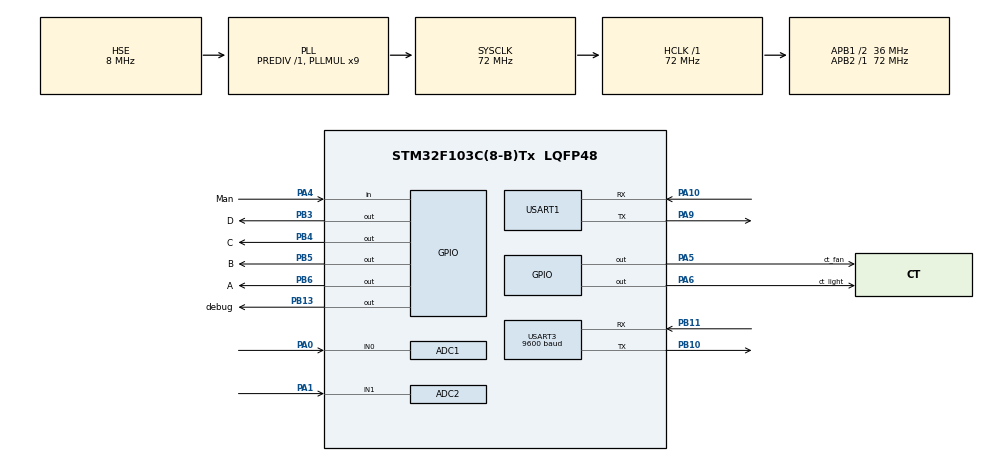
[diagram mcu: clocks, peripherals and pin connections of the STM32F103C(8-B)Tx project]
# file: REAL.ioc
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ADC1.Channel-0\#ChannelRegularConversion=ADC_CHANNEL_0
ADC1.NbrOfConversionFlag=1
ADC1.Rank-0\#ChannelRegularConversion=1
ADC1.SamplingTime-0\#ChannelRegularConversion=ADC_SAMPLETIME_1CYCLE_5
ADC1.master=1
ADC2.Channel-4\#ChannelRegularConversion=ADC_CHANNEL_1
ADC2.NbrOfConversionFlag=1
ADC2.Rank-4\#ChannelRegularConversion=1
ADC2.SamplingTime-4\#ChannelRegularConversion=ADC_SAMPLETIME_1CYCLE_5
Mcu.Family=STM32F1
Mcu.Name=STM32F103C(8-B)Tx
Mcu.Package=LQFP48
NVIC.PriorityGroup=NVIC_PRIORITYGROUP_4
NVIC.USART1_IRQn=true\:1\:0\:true\:false\:true\:true\:true
NVIC.USART3_IRQn=true\:1\:0\:true\:false\:true\:true\:true
PA0-WKUP.Signal=ADCx_IN0
PA1.Signal=ADCx_IN1
PA10.Mode=Asynchronous
PA10.Signal=USART1_RX
PA4.GPIO_Label=Man
PA4.Signal=GPIO_Input
PA5.GPIO_Label=ct_fan
PA5.PinState=GPIO_PIN_SET
PA5.Signal=GPIO_Output
PA6.GPIO_Label=ct_light
PA6.Signal=GPIO_Output
PA9.Mode=Asynchronous
PA9.Signal=USART1_TX
PB10.Mode=Asynchronous
PB10.Signal=USART3_TX
PB11.Mode=Asynchronous
PB11.Signal=USART3_RX
PB13.GPIO_Label=debug
PB13.Signal=GPIO_Output
PB3.GPIO_Label=D
PB3.Signal=GPIO_Output
PB4.GPIO_Label=C
PB4.Signal=GPIO_Output
PB5.GPIO_Label=B
PB5.Signal=GPIO_Output
PB6.GPIO_Label=A
PB6.Signal=GPIO_Output
PC14-OSC32_IN.Mode=LSE-External-Oscillator
PC14-OSC32_IN.Signal=RCC_OSC32_IN
PC15-OSC32_OUT.Mode=LSE-External-Oscillator
PC15-OSC32_OUT.Signal=RCC_OSC32_OUT
PD0-OSC_IN.Mode=HSE-External-Oscillator
PD0-OSC_IN.Signal=RCC_OSC_IN
PD1-OSC_OUT.Mode=HSE-External-Oscillator
PD1-OSC_OUT.Signal=RCC_OSC_OUT
ProjectManager.HeapSize=0x200
ProjectManager.StackSize=0x400
ProjectManager.TargetToolchain=MDK-ARM V5
RCC.ADCPresc=RCC_ADCPCLK2_DIV6
RCC.AHBFreq_Value=72000000
RCC.APB1CLKDivider=RCC_HCLK_DIV2
RCC.APB1Freq_Value=36000000
RCC.APB1TimFreq_Value=72000000
RCC.APB2Freq_Value=72000000
RCC.APB2TimFreq_Value=72000000
RCC.HCLKFreq_Value=72000000
RCC.PLLMUL=RCC_PLL_MUL9
RCC.PLLSourceVirtual=RCC_PLLSOURCE_HSE
RCC.SYSCLKFreq_VALUE=72000000
RCC.SYSCLKSource=RCC_SYSCLKSOURCE_PLLCLK
RCC.USBFreq_Value=72000000
SH.ADCx_IN0.0=ADC1_IN0,IN0
SH.ADCx_IN1.0=ADC2_IN1,IN1
TIM1.Period=0xffff
TIM1.Prescaler=72-1
USART1.VirtualMode=VM_ASYNC
USART3.BaudRate=9600
USART3.VirtualMode=VM_ASYNC
VP_SYS_VS_ND.Mode=No_Debug
VP_TIM1_VS_ClockSourceINT.Mode=Internal
board=custom

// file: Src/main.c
/* USER CODE BEGIN Header */
/**
  ******************************************************************************
  * @file           : main.c
  * @brief          : Main program body
  ******************************************************************************
  * @attention
  *
  * <h2><center>&copy; Copyright (c) 2020 STMicroelectronics.
  * All rights reserved.</center></h2>
  *
  * This software component is licensed by ST under BSD 3-Clause license,
  * the "License"; You may not use this file except in compliance with the
  * License. You may obtain a copy of the License at:
  *                        opensource.org/licenses/BSD-3-Clause
  *
  ******************************************************************************
  */
/* USER CODE END Header */

#include "main.h"
#include "adc.h"
#include "tim.h"
#include "usart.h"
#include "gpio.h"

/* USER CODE BEGIN Includes */
#include "string.h"
/* USER CODE END Includes */

/* USER CODE BEGIN PTD */

//然而在半驱动时，电机需要4096步。但是现在序列有8个步距角，所以我们需要给出4096/8=512个序列（转一圈）
#define stepsperrev 4096

/* USER CODE END PTD */

/* USER CODE BEGIN PM */

//-----------------------------直接工具类----------------------------------
void MotorRight(uint16_t num);				//电机转向：num->圈数
void MotorLeft(uint16_t num);
void CheckState(void);

//-----------------------------间接工具类----------------------------------
void delay(uint16_t us);
void steper_ser_rpm(int rpm);
void steper_half_drive(int step);

void clean(void);

/* USER CODE END PM */

/* USER CODE BEGIN PV */

//----------------------------------外设控制变量----------------------------------
//						ct_fan：风扇控制
//						ct_light：灯光控制
//						ct_curtain：窗帘控制
//						值：0-->启动 1-->关闭
//----------------------------------外设控制变量----------------------------------
uint16_t ct_fan = 1;
uint16_t ct_light = 0;
uint16_t ct_curtain = 0;
//----------------------------------串口比较指令定义----------------------------------
uint16_t DriverMode_Fan = 0;											//风扇运行模式：0->自动  1->手动
uint16_t DriverMode_Light = 0;										//灯光运行模式：0->自动  1->手动
const char ct_str_openFan[15] = "Fan_On#";
const char ct_str_closeFan[15] = "Fan_Off#";
const char ct_str_openLight[15] = "Light_On#";
const char ct_str_closeLight[15] = "Light_Off#";
const char ct_str_openCurtain[15] = "Door_On#";
const char ct_str_closeCurtain[15] = "Door_Off#";
const char ct_str_Auto_Fan[15] = "fan_auto#";
const char ct_str_NotAuto_Fan[15] = "fan_auto_no#";
const char ct_str_Auto_Light[15] = "light_auto#";
const char ct_str_NotAuto_Light[15] = "light_auto_no#";
const char getState[15] = "getState#";
//----------------------------------串口比较指令定义----------------------------------

//--------------------------------串口变量定义--------------------------------

//串口1
uint8_t uart1RxState = 1;
uint8_t uart1RxCounter = 0;
uint8_t TempBuff[1];
char uart1RxBuff[128];
char uart1Real[128];
char SendBack[128];
uint8_t hello[] = "hello Uart\r\n";

//串口2
uint8_t uart2RxState = 1;
uint8_t uart2RxCounter = 0;
uint8_t TempBuff2[1];
char uart2RxBuff[128];
char SendBack2[128];
//--------------------------------串口变量定义--------------------------------

/* USER CODE END PV */

void SystemClock_Config(void);

int main(void)
{

  /* MCU Configuration--------------------------------------------------------*/

  /* Reset of all peripherals, Initializes the Flash interface and the Systick. */
  HAL_Init();

  /* Configure the system clock */
  SystemClock_Config();

  /* Initialize all configured peripherals */
  MX_GPIO_Init();
  MX_ADC1_Init();
  MX_ADC2_Init();
  MX_USART1_UART_Init();
  MX_TIM1_Init();
  MX_USART3_UART_Init();
  /* USER CODE BEGIN 2 */

	//启动定时器（用于驱动电机）
	HAL_TIM_Base_Start(&htim1);

	//开启定时器中断接收指令
	HAL_UART_Receive_IT(&huart1, TempBuff, 1);
	HAL_UART_Receive_IT(&huart3, TempBuff2, 1);
	HAL_UART_Transmit(&huart3,(uint8_t *)"Hello", sizeof("Hello"), 0xFFFF);
  /* USER CODE END 2 */

  /* Infinite loop */
  /* USER CODE BEGIN WHILE */
  while (1)
  {
		HAL_GPIO_TogglePin(debug_GPIO_Port,debug_Pin);
    /* USER CODE END WHILE */

    /* USER CODE BEGIN 3 */

		//接收串口指令

		//窗帘控制
		if(ct_curtain == 1)
		{
			//直接操作
			MotorLeft(3);
			ct_curtain = 0;
		}
		else if(ct_curtain == 2)
		{
			//直接操作
			MotorRight(3);
			ct_curtain = 0;
		}

		if(DriverMode_Light == 0)
		{
			//----------------自动模式使用传感器的值来判断-------------------
			uint16_t adc_value_light = 0;				//ADC转换值
			float voltage_light = 0.0;					//电压值

			HAL_ADC_Start(&hadc1);
			//等待常规转化组转化完成（句柄，超时时间）
			HAL_ADC_PollForConversion(&hadc1,100);
			adc_value_light = HAL_ADC_GetValue(&hadc1);
			voltage_light = (float)adc_value_light / 4096 * 3.3 * 10;
			if(voltage_light > 7)
			{
				HAL_GPIO_WritePin(ct_light_GPIO_Port,ct_light_Pin,GPIO_PIN_SET);
			}else
			{
				HAL_GPIO_WritePin(ct_light_GPIO_Port,ct_light_Pin,GPIO_PIN_RESET);
			}
			HAL_Delay(1000);
		}
		else
		{
			if(ct_light == 1)
			{
				HAL_GPIO_WritePin(ct_light_GPIO_Port,ct_light_Pin,GPIO_PIN_SET);
			}else
			{
				HAL_GPIO_WritePin(ct_light_GPIO_Port,ct_light_Pin,GPIO_PIN_RESET);
			}
		}

		if(DriverMode_Fan == 0)
		{
			uint16_t adc_value_air = 0;				//ADC转换值
			float voltage_air = 0.0;					//电压值

			HAL_ADC_Start(&hadc2);
			//等待常规转化组转化完成（句柄，超时时间）
			HAL_ADC_PollForConversion(&hadc2,100);
			adc_value_air = HAL_ADC_GetValue(&hadc2);
			voltage_air = (float)adc_value_air / 4096 * 3.3 * 10;
			if(voltage_air > 12)
			{
				HAL_GPIO_WritePin(ct_fan_GPIO_Port,ct_fan_Pin,GPIO_PIN_RESET);
			}else
			{
				HAL_GPIO_WritePin(ct_fan_GPIO_Port,ct_fan_Pin,GPIO_PIN_SET);
			}

			HAL_Delay(1000);
		}else
		{
			if(ct_fan == 1)
			{
				HAL_GPIO_WritePin(ct_fan_GPIO_Port,ct_fan_Pin,GPIO_PIN_RESET);
			}else
			{
				HAL_GPIO_WritePin(ct_fan_GPIO_Port,ct_fan_Pin,GPIO_PIN_SET);
			}
		}
  }
  /* USER CODE END 3 */
}

void SystemClock_Config(void)
{
  RCC_OscInitTypeDef RCC_OscInitStruct = {0};
  RCC_ClkInitTypeDef RCC_ClkInitStruct = {0};
  RCC_PeriphCLKInitTypeDef PeriphClkInit = {0};

  /** Initializes the CPU, AHB and APB busses clocks
  */
  RCC_OscInitStruct.OscillatorType = RCC_OSCILLATORTYPE_HSE;
  RCC_OscInitStruct.HSEState = RCC_HSE_ON;
  RCC_OscInitStruct.HSEPredivValue = RCC_HSE_PREDIV_DIV1;
  RCC_OscInitStruct.HSIState = RCC_HSI_ON;
  RCC_OscInitStruct.PLL.PLLState = RCC_PLL_ON;
  RCC_OscInitStruct.PLL.PLLSource = RCC_PLLSOURCE_HSE;
  RCC_OscInitStruct.PLL.PLLMUL = RCC_PLL_MUL9;
  if (HAL_RCC_OscConfig(&RCC_OscInitStruct) != HAL_OK)
  {
    Error_Handler();
  }
  /** Initializes the CPU, AHB and APB busses clocks
  */
  RCC_ClkInitStruct.ClockType = RCC_CLOCKTYPE_HCLK|RCC_CLOCKTYPE_SYSCLK
                              |RCC_CLOCKTYPE_PCLK1|RCC_CLOCKTYPE_PCLK2;
  RCC_ClkInitStruct.SYSCLKSource = RCC_SYSCLKSOURCE_PLLCLK;
  RCC_ClkInitStruct.AHBCLKDivider = RCC_SYSCLK_DIV1;
  RCC_ClkInitStruct.APB1CLKDivider = RCC_HCLK_DIV2;
  RCC_ClkInitStruct.APB2CLKDivider = RCC_HCLK_DIV1;

  if (HAL_RCC_ClockConfig(&RCC_ClkInitStruct, FLASH_LATENCY_2) != HAL_OK)
  {
    Error_Handler();
  }
  PeriphClkInit.PeriphClockSelection = RCC_PERIPHCLK_ADC;
  PeriphClkInit.AdcClockSelection = RCC_ADCPCLK2_DIV6;
  if (HAL_RCCEx_PeriphCLKConfig(&PeriphClkInit) != HAL_OK)
  {
    Error_Handler();
  }
}

/* USER CODE BEGIN 4 */

//返回给云端当前状态
void CheckState()
{
	char state[128];
	sprintf(state,"{\"fan\":%d,\"light\":%d,\"curtain\":%d,\"Mode_Fan\":%d,\"Mode_Light\":%d}",
	ct_fan,ct_light,ct_curtain,DriverMode_Fan,DriverMode_Light);
	HAL_UART_Transmit(&huart1,(uint8_t *)&state, sizeof("{\"fan\":%d,\"light\":%d,\"curtain\":%d,\"Mode_Fan\":%d,\"Mode_Light\":%d}}")-5, 0xFFFF);
}

//串口中断回调函数
void HAL_UART_RxCpltCallback(UART_HandleTypeDef *huart)
//void HAL_UART_RxHalfCpltCallback(UART_HandleTypeDef *huart)
{
//	HAL_GPIO_TogglePin(LED1_GPIO_Port,LED1_Pin);
	if(huart->Instance == USART1)
	{
		//避免gcc/g++警告
		UNUSED(huart);
		//溢出错误
		if(uart1RxCounter >= 128)
		{
			uart1RxCounter = 0;
			memset(uart1RxBuff,0x00,sizeof(uart1RxBuff));
			HAL_UART_Transmit(&huart1,(uint8_t *)"溢出错误",8,0xff);
			HAL_UART_Receive_IT(&huart1, TempBuff, 1);
		}
		else
		{
			uart1RxBuff[uart1RxCounter++] = TempBuff[0];
			//HAL_UART_Transmit(&huart1,TempBuff[0],1,0xff);
			if(uart1RxBuff[uart1RxCounter-1] == '#')
			{
				//HAL_UART_Transmit(&huart1,(uint8_t *)uart1RxBuff,sizeof(uart1RxBuff),0xff);
				uart1RxCounter = 0;
				uart1RxState = 1;
				///////////////////////////////////////////////////
				if(strstr((char *)uart1RxBuff,ct_str_Auto_Light) != NULL)
				{
					DriverMode_Light = 0;
				}else if(strstr((char *)uart1RxBuff,ct_str_NotAuto_Light) != NULL)
				{
					DriverMode_Light = 1;
				}else if(strstr((char *)uart1RxBuff,ct_str_Auto_Fan) != NULL)
				{
					DriverMode_Fan = 0;
				}else if(strstr((char *)uart1RxBuff,ct_str_NotAuto_Fan) != NULL)
				{
					DriverMode_Fan = 1;
				}else if(strstr((char *)uart1RxBuff,ct_str_openFan) != NULL)
				{
					ct_fan = 0;
				}else if(strstr((char *)uart1RxBuff,ct_str_closeFan) != NULL)
				{
					ct_fan = 1;
				}else if(strstr((char *)uart1RxBuff,ct_str_openLight) != NULL)
				{
					ct_light = 1;
				}else if(strstr((char *)uart1RxBuff,ct_str_closeLight) != NULL)
				{
					ct_light = 0;
				}else if(strstr((char *)uart1RxBuff,ct_str_openCurtain) != NULL)
				{
					ct_curtain = 1;
				}else if(strstr((char *)uart1RxBuff,ct_str_closeCurtain) != NULL)
				{
					ct_curtain = 2;
				}else if(strstr((char *)uart1RxBuff,"connected#") != NULL)
				{
					HAL_UART_Transmit(&huart1,(uint8_t *)"connected", sizeof("connected"), 0xFFFF);
				}
				//HAL_Delay(100);
				CheckState();
				//sprintf(SendBack,"指令：%s \r\n",(char *)uart1RxBuff);
				//HAL_UART_Transmit(&huart1,(uint8_t *)SendBack,sizeof(SendBack),0xff);
				//while(HAL_UART_GetState(&huart1) == HAL_UART_STATE_BUSY_TX);

				//memset(SendBack,0x00,sizeof(SendBack));
				//strcpy(uart1Real,uart1RxBuff);
				memset(uart1RxBuff,0x00,sizeof(uart1RxBuff)+1);
			}
		}
		memset(TempBuff,0x00,sizeof(TempBuff));
		HAL_UART_Receive_IT(&huart1, TempBuff, 1);
	}

	if(huart->Instance == USART3)
	{
		//HAL_UART_Transmit(&huart2,(uint8_t *)"2b\r\n",sizeof("2b\r\n"),0xff);
		//---------------------------------------语音处理------------------------
		//避免gcc/g++警告
		UNUSED(huart);
		//溢出错误
		if(uart2RxCounter >= 128)
		{
			uart2RxCounter = 0;
			memset(uart2RxBuff,0x00,sizeof(uart2RxBuff));
			HAL_UART_Transmit(&huart3,(uint8_t *)"溢出错误",8,0xff);
			HAL_UART_Receive_IT(&huart3, TempBuff2, 1);
		}
		else
		{
			uart2RxBuff[uart2RxCounter++] = TempBuff2[0];
			//HAL_UART_Transmit(&huart3,(uint8_t *)"132\r\n",3,0xff);
			if(uart2RxBuff[uart2RxCounter-1] == '#')
			{
				HAL_UART_Transmit(&huart3,(uint8_t *)uart2RxBuff,sizeof(uart2RxBuff),0xff);
				memset(uart2RxBuff,0x00,sizeof(uart2RxBuff));
				uart2RxCounter = 0;

				if(strcmp((char *)uart2RxBuff,ct_str_openFan) == 0)
				{
					ct_fan = 1;
				}else if(strcmp((char *)uart2RxBuff,ct_str_closeFan) == 0)
				{
					ct_fan = 0;
				}else if(strcmp((char *)uart2RxBuff,ct_str_openLight) == 0)
				{
					ct_light = 1;
				}else if(strcmp((char *)uart2RxBuff,ct_str_closeLight) == 0)
				{
					ct_light = 0;
				}else if(strcmp((char *)uart2RxBuff,ct_str_openCurtain) == 0)
				{
					ct_curtain = 1;
				}else if(strcmp((char *)uart2RxBuff,ct_str_closeCurtain) == 0)
				{
					ct_curtain = 2;
				}

				CheckState();
				//sprintf(SendBack2,"指令：%s \r\n",(char *)uart2RxBuff);
				//HAL_UART_Transmit(&huart3,(uint8_t *)SendBack,sizeof(SendBack),0xff);
				while(HAL_UART_GetState(&huart3) == HAL_UART_STATE_BUSY_TX);

				//memset(SendBack2,0x00,sizeof(SendBack2));

			}
			HAL_UART_Receive_IT(&huart3, TempBuff2, 1);
		}
		memset(TempBuff2,0x00,sizeof(TempBuff2));
	}
}

void MotorLeft(uint16_t num)
{
	for(int c=0; c<num; c++)
	{
		for(int i=0; i<512; i++)		//转360°
		{
			for(int j=0; j<8; j++)
			{
				steper_half_drive(j);
				steper_ser_rpm(13);
			}
		}
	}
	clean();
}

void MotorRight(uint16_t num)
{
	for(int c=0; c<num; c++)
	{
		for(int i=0; i<512; i++)		//转360°
			{
				for(int j=7; j>=0; j--)
				{
					steper_half_drive(j);
					steper_ser_rpm(13);
				}
			}
	}
	clean();
}

void clean(void)
{
	HAL_GPIO_WritePin(GPIOB,A_Pin,GPIO_PIN_RESET);
	HAL_GPIO_WritePin(GPIOB,B_Pin,GPIO_PIN_RESET);
	HAL_GPIO_WritePin(GPIOB,C_Pin,GPIO_PIN_RESET);
	HAL_GPIO_WritePin(GPIOB,D_Pin,GPIO_PIN_RESET);
}

void delay(uint16_t us)
{
	__HAL_TIM_SET_COUNTER(&htim1,0);		//计时器归零
	while(__HAL_TIM_GET_COUNTER(&htim1)<us);
}

//速度调节
void steper_ser_rpm(int rpm)//rpm-->每分钟的圈数（max==13）
{
	delay(60000000/stepsperrev/rpm);
}

void steper_half_drive(int step)
{
	switch(step)
	{
		case 0:
			HAL_GPIO_WritePin(GPIOB,A_Pin,GPIO_PIN_SET);
			HAL_GPIO_WritePin(GPIOB,B_Pin|C_Pin|D_Pin,GPIO_PIN_RESET);
			break;
		case 1:
			HAL_GPIO_WritePin(GPIOB,A_Pin|B_Pin,GPIO_PIN_SET);
			HAL_GPIO_WritePin(GPIOB,C_Pin|D_Pin,GPIO_PIN_RESET);
			break;
		case 2:
			HAL_GPIO_WritePin(GPIOB,B_Pin,GPIO_PIN_SET);
			HAL_GPIO_WritePin(GPIOB,D_Pin|C_Pin|A_Pin,GPIO_PIN_RESET);
			break;
		case 3:
			HAL_GPIO_WritePin(GPIOB,B_Pin|C_Pin,GPIO_PIN_SET);
			HAL_GPIO_WritePin(GPIOB,A_Pin|D_Pin,GPIO_PIN_RESET);
			break;
		case 4:
			HAL_GPIO_WritePin(GPIOB,C_Pin,GPIO_PIN_SET);
			HAL_GPIO_WritePin(GPIOB,B_Pin|A_Pin|D_Pin,GPIO_PIN_RESET);
			break;
		case 5:
			HAL_GPIO_WritePin(GPIOB,D_Pin|C_Pin,GPIO_PIN_SET);
			HAL_GPIO_WritePin(GPIOB,B_Pin|A_Pin,GPIO_PIN_RESET);
			break;
		case 6:
			HAL_GPIO_WritePin(GPIOB,D_Pin,GPIO_PIN_SET);
			HAL_GPIO_WritePin(GPIOB,B_Pin|C_Pin|A_Pin,GPIO_PIN_RESET);
			break;
		case 7:
			HAL_GPIO_WritePin(GPIOB,A_Pin|D_Pin,GPIO_PIN_SET);
			HAL_GPIO_WritePin(GPIOB,B_Pin|C_Pin,GPIO_PIN_RESET);
			break;
	}
}

/* USER CODE END 4 */

void Error_Handler(void)
{
}

/************************ (C) COPYRIGHT STMicroelectronics *****END OF FILE****/
